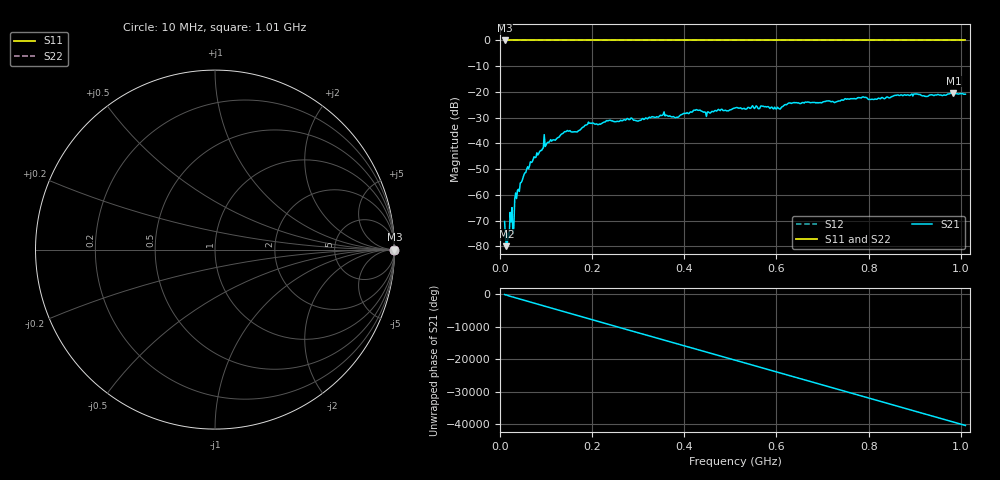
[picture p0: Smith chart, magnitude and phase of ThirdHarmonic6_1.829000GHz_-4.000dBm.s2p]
! 8/16/2025 10:09:07 PM
! C:\ANRITSUVNA\TEMP\TEMP.S2P
! CHANNEL.1
! TR.MEASUREMENT
! RAW.DATA
! RF.CORRECTION.OFF
! AVERAGING.OFF
! IF.BANDWIDTH: 5KHZ
! SWEEPTYPE:  FREQ.SWEEP(Linear)
! Reference Plane Port Info
! PORT:  PORT1  PORT2
! DISTANCE:  0  m  0  m
! TIME:  0  s  0  s
! PHASE.OFFSET:  0  deg.  0  deg.
! LOSS:  0  dB  0  dB
! REF.LOSS:  0  dB  0  dB
! REF.FREQ:  0  Hz  0  Hz
! Power Info
! POWER:  -20  dBm  -20  dBm
! EFF.POWER:  -20  dBm  -20  dBm
! SOURCE.ATTEN:  0  dB  0  dB
! TEST.ATTEN:  0  dB  0  dB
# GHZ S RI R 50.0
! FREQ.GHZ  S11RE  S11IM  S21RE  S21IM  S12RE  S12IM  S22RE  S22IM
!; PortSelection: Port_12
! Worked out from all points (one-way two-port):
!   501 points, 10 MHz to 1.01 GHz, reference 50 ohm
!   highest |S21| = -20.41 dB at 984 MHz (marker M1); lowest = -80.0 dB at 14 MHz (marker M2)
!   lowest |S11| = 0.0 dB at 10 MHz (marker M3)
!   |S11| at or under -10 dB: nowhere
!   |S22| runs from 0.0 to 0.0 dB; largest |S21 - S12| = 1.1
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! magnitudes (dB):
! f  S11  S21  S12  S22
! 10 MHz  0.0  -70.4  0.0  0.0
! 14 MHz  0.0  -80.0  0.0  0.0
! 16 MHz  0.0  -78.5  0.0  0.0
! 22 MHz  0.0  -66.8  0.0  0.0
! 26 MHz  0.0  -65.0  0.0  0.0
! 32 MHz  0.0  -61.6  0.0  0.0
! 36 MHz  0.0  -61.5  0.0  0.0
! 56 MHz  0.0  -51.3  0.0  0.0
! 70 MHz  0.0  -47.2  0.0  0.0
! 100 MHz  0.0  -40.6  0.0  0.0
! 142 MHz  0.0  -35.5  0.0  0.0
! 178 MHz  0.0  -34.0  0.0  0.0
! 196 MHz  0.0  -32.1  0.0  0.0
! 344 MHz  0.0  -29.8  0.0  0.0
! 384 MHz  0.0  -29.8  0.0  0.0
! 510 MHz  0.0  -26.3  0.0  0.0
! 604 MHz  0.0  -26.3  0.0  0.0
! 628 MHz  0.0  -24.3  0.0  0.0
! 678 MHz  0.0  -24.1  0.0  0.0
! 844 MHz  0.0  -22.3  0.0  0.0
! 984 MHz  0.0  -20.4  0.0  0.0
! 1.01 GHz  0.0  -20.9  0.0  0.0
